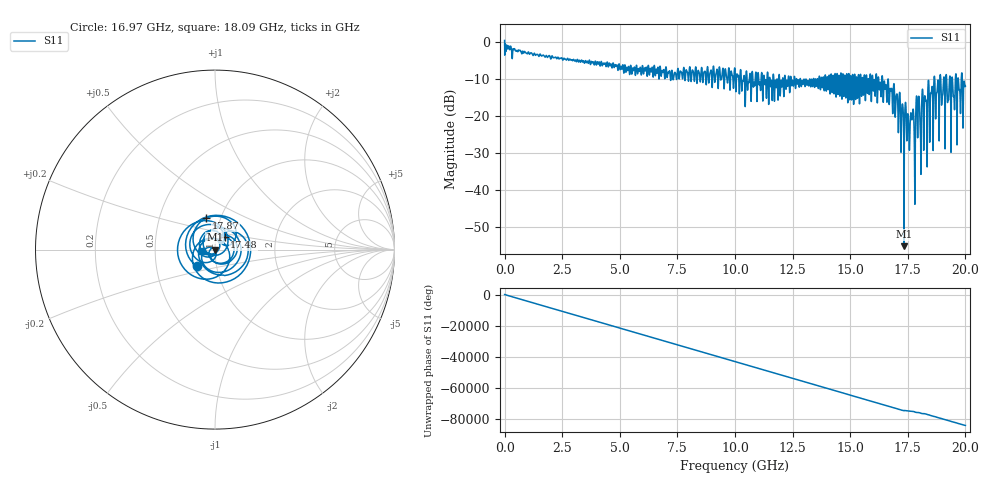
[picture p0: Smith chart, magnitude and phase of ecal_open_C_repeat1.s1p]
! MS46122B
! 2250307/22442219
! 7/23/2025 1:13:51 PM
! C:\USERS\SPARKY\DOCUMENTS\VNA_DATA\JULY23_2025\295K\ECAL_OPEN_C_REPEAT1.S1P
! CHANNEL.1
! TR.MEASUREMENT
! RAW.DATA
# GHZ S RI R 50.0
! FREQ.GHZ  S11RE  S11IM
!; PortSelection: Port_1
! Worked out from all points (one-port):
!   10001 points, 1 MHz to 20 GHz, reference 50 ohm
!   lowest |S11| = -55.1 dB at 17.34 GHz (marker M1), VSWR 1.00, Z = 49.8 + j0.0375 ohm
!   |S11| at or under -10 dB: 12.84 GHz to 13.24 GHz (401.2 MHz wide, 3.08 % of centre); 16.4 GHz to 16.64 GHz (237.5 MHz wide, 1.44 % of centre); 16.65 GHz to 18.64 GHz (1.993 GHz wide, 11.3 % of centre) (the widest 3 of 89)
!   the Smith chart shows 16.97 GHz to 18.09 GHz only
!   S11 on the Smith chart (normalised r, x): 16.97 GHz: 0.81, -0.15; 17.48 GHz: 1.10, +0.15; 17.87 GHz: 0.85, +0.31; 18.09 GHz: 0.86, -0.02
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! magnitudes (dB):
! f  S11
! 1 MHz  0.4
! 2.501 GHz  -4.5
! 5.001 GHz  -7.0
! 7.501 GHz  -8.0
! 10 GHz  -7.4
! 12.5 GHz  -10.3
! 15 GHz  -11.3
! 16.31 GHz  -11.0
! 16.97 GHz  -17.3
! 17.22 GHz  -25.9
! 17.27 GHz  -16.8
! 17.34 GHz  -55.1
! 17.48 GHz  -21.2
! 17.5 GHz  -19.4
! 17.87 GHz  -14.8
! 17.93 GHz  -23.7
! 18 GHz  -16.0
! 18.09 GHz  -22.7
! 18.2 GHz  -23.1
! 18.27 GHz  -15.7
! 18.32 GHz  -18.9
! 18.47 GHz  -16.4
! 18.53 GHz  -13.6
! 18.73 GHz  -15.8
! 19.25 GHz  -15.4
! 19.45 GHz  -12.3
! 19.51 GHz  -15.0
! 20 GHz  -11.9
